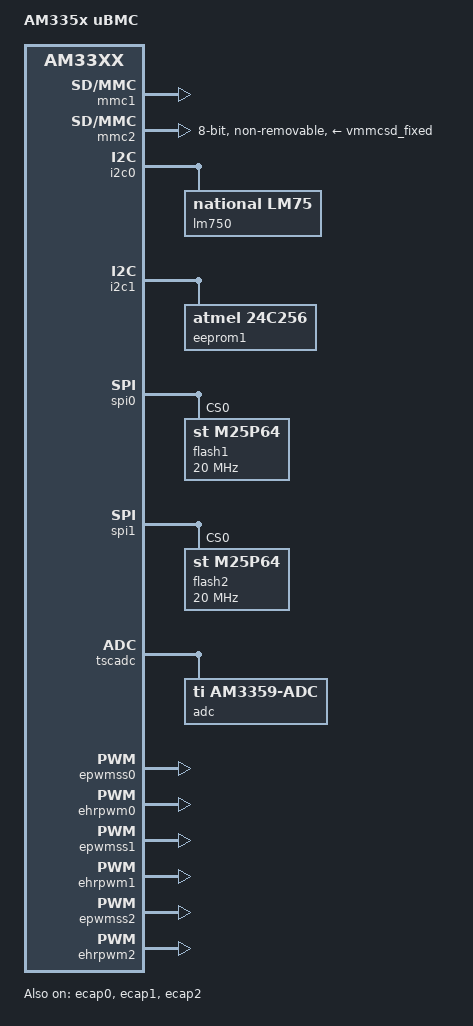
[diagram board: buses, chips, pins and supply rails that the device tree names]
/*-
 * Copyright (c) 2016 Rubicon Communications (Netgate)
 * All rights reserved.
 *
 * Redistribution and use in source and binary forms, with or without
 * modification, are permitted provided that the following conditions
 * are met:
 * 1. Redistributions of source code must retain the above copyright
 *    notice, this list of conditions and the following disclaimer.
 * 2. Redistributions in binary form must reproduce the above copyright
 *    notice, this list of conditions and the following disclaimer in the
 *    documentation and/or other materials provided with the distribution.
 *
 * THIS SOFTWARE IS PROVIDED BY THE AUTHOR AND CONTRIBUTORS ``AS IS'' AND
 * ANY EXPRESS OR IMPLIED WARRANTIES, INCLUDING, BUT NOT LIMITED TO, THE
 * IMPLIED WARRANTIES OF MERCHANTABILITY AND FITNESS FOR A PARTICULAR PURPOSE
 * ARE DISCLAIMED.  IN NO EVENT SHALL THE AUTHOR OR CONTRIBUTORS BE LIABLE
 * FOR ANY DIRECT, INDIRECT, INCIDENTAL, SPECIAL, EXEMPLARY, OR CONSEQUENTIAL
 * DAMAGES (INCLUDING, BUT NOT LIMITED TO, PROCUREMENT OF SUBSTITUTE GOODS
 * OR SERVICES; LOSS OF USE, DATA, OR PROFITS; OR BUSINESS INTERRUPTION)
 * HOWEVER CAUSED AND ON ANY THEORY OF LIABILITY, WHETHER IN CONTRACT, STRICT
 * LIABILITY, OR TORT (INCLUDING NEGLIGENCE OR OTHERWISE) ARISING IN ANY WAY
 * OUT OF THE USE OF THIS SOFTWARE, EVEN IF ADVISED OF THE POSSIBILITY OF
 * SUCH DAMAGE.
 * 
 * $FreeBSD$
 */

/dts-v1/;

#include "am33xx.dtsi"
#include "ubmc.dtsi"

/ {
	model = "AM335x uBMC";
	compatible = "ti,am335x-ubmc", "ti,am33xx";
};

&mmc1 {
	status = "okay";
};

&mmc2 {
	vmmc-supply = <&vmmcsd_fixed>;
	pinctrl-names = "default";
	pinctrl-0 = <&emmc_pins>;
	bus-width = <8>;
	ti,dual-volt;
	non-removable;
	status = "okay";
};

&i2c0 {
	pinctrl-names = "default";
	pinctrl-0 = <&i2c0_pins>;

	status = "okay";

	lm750 {
		compatible = "national,lm75";
		i2c-address = <0x48>;
	};
};

&i2c1 {
	pinctrl-names = "default";
	pinctrl-0 = <&i2c1_pins>;

	status = "okay";

	eeprom1 {
		compatible = "atmel,24c256";
		i2c-address = <0x50>;
	};
};

&spi0 {
	pinctrl-names = "default";
	pinctrl-0 = <&spi0_pins>;
	status = "okay";

	flash1: m25p64@1 {
		#address-cells = <1>;
		#size-cells = <1>;
		compatible = "st,m25p64", "st,m25p";
		spi-max-frequency = <20000000>;
		reg = <0>;
	};
};

&spi1 {
	pinctrl-names = "default";
	pinctrl-0 = <&spi1_pins>;
	status = "okay";

	flash2: m25p64@2 {
		#address-cells = <1>;
		#size-cells = <1>;
		compatible = "st,m25p64", "st,m25p";
		spi-max-frequency = <20000000>;
		reg = <0>;
	};
};

&tscadc {
	status = "okay";

	adc {
		#io-channel-cells = <0x1>;
		compatible = "ti,am3359-adc";
		ti,adc-channels = <0x00 0x01 0x02 0x03 0x4 0x5 0x6 0x7>;
	};
};

&epwmss0 {
	status = "okay";
};

&ecap0 {
	pinctrl-names = "default";
	pinctrl-0 = <&ecap0_pins>;
	status = "okay";
};

&ehrpwm0 {
	status = "okay";
};

&epwmss1 {
	status = "okay";
};

&ecap1 {
	pinctrl-names = "default";
	pinctrl-0 = <&ecap1_pins>;
	status = "okay";
};

&ehrpwm1 {
	pinctrl-names = "default";
	pinctrl-0 = <&ehrpwm1_pins>;
	status = "okay";
};

&epwmss2 {
	status = "okay";
};

&ecap2 {
	pinctrl-names = "default";
	pinctrl-0 = <&ecap2_pins>;
	status = "okay";
};

&ehrpwm2 {
	pinctrl-names = "default";
	pinctrl-0 = <&ehrpwm2_pins>;
	status = "okay";
};
